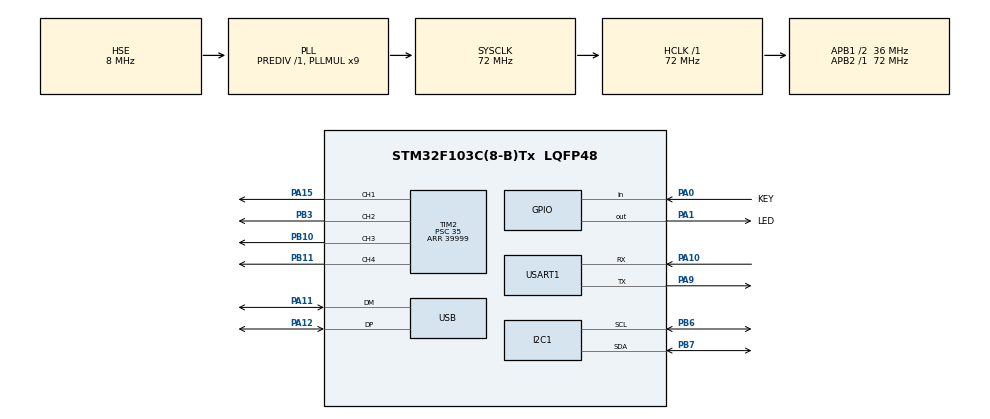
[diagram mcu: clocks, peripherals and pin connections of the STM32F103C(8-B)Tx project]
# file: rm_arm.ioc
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I2C1.I2C_Mode=I2C_Fast
Mcu.Family=STM32F1
Mcu.Name=STM32F103C(8-B)Tx
Mcu.Package=LQFP48
NVIC.PriorityGroup=NVIC_PRIORITYGROUP_4
NVIC.TIM3_IRQn=true\:0\:0\:false\:false\:true\:true\:true\:true
NVIC.USB_LP_CAN1_RX0_IRQn=true\:0\:0\:false\:false\:true\:false\:true\:true
PA0-WKUP.GPIO_Label=KEY
PA0-WKUP.GPIO_PuPd=GPIO_PULLDOWN
PA0-WKUP.Signal=GPIO_Input
PA1.GPIO_Label=LED
PA1.PinState=GPIO_PIN_SET
PA1.Signal=GPIO_Output
PA10.Mode=Asynchronous
PA10.Signal=USART1_RX
PA11.Mode=Device
PA11.Signal=USB_DM
PA12.Mode=Device
PA12.Signal=USB_DP
PA13.Mode=Serial_Wire
PA13.Signal=SYS_JTMS-SWDIO
PA14.Mode=Serial_Wire
PA14.Signal=SYS_JTCK-SWCLK
PA15.Signal=S_TIM2_CH1_ETR
PA9.Mode=Asynchronous
PA9.Signal=USART1_TX
PB10.Signal=S_TIM2_CH3
PB11.Signal=S_TIM2_CH4
PB3.Signal=S_TIM2_CH2
PB6.Mode=I2C
PB6.Signal=I2C1_SCL
PB7.Mode=I2C
PB7.Signal=I2C1_SDA
PD0-OSC_IN.Mode=HSE-External-Oscillator
PD0-OSC_IN.Signal=RCC_OSC_IN
PD1-OSC_OUT.Mode=HSE-External-Oscillator
PD1-OSC_OUT.Signal=RCC_OSC_OUT
ProjectManager.HeapSize=0x200
ProjectManager.StackSize=0x400
ProjectManager.TargetToolchain=CMake
RCC.AHBFreq_Value=72000000
RCC.APB1CLKDivider=RCC_HCLK_DIV2
RCC.APB1Freq_Value=36000000
RCC.APB1TimFreq_Value=72000000
RCC.APB2Freq_Value=72000000
RCC.APB2TimFreq_Value=72000000
RCC.HCLKFreq_Value=72000000
RCC.PLLMUL=RCC_PLL_MUL9
RCC.PLLSourceVirtual=RCC_PLLSOURCE_HSE
RCC.SYSCLKFreq_VALUE=72000000
RCC.SYSCLKSource=RCC_SYSCLKSOURCE_PLLCLK
RCC.USBFreq_Value=48000000
RCC.USBPrescaler=RCC_USBCLKSOURCE_PLL_DIV1_5
SH.S_TIM2_CH1_ETR.0=TIM2_CH1,PWM Generation1 CH1
SH.S_TIM2_CH2.0=TIM2_CH2,PWM Generation2 CH2
SH.S_TIM2_CH3.0=TIM2_CH3,PWM Generation3 CH3
SH.S_TIM2_CH4.0=TIM2_CH4,PWM Generation4 CH4
TIM2.AutoReloadPreload=TIM_AUTORELOAD_PRELOAD_ENABLE
TIM2.Channel-PWM\ Generation1\ CH1=TIM_CHANNEL_1
TIM2.Channel-PWM\ Generation2\ CH2=TIM_CHANNEL_2
TIM2.Channel-PWM\ Generation3\ CH3=TIM_CHANNEL_3
TIM2.Channel-PWM\ Generation4\ CH4=TIM_CHANNEL_4
TIM2.Period=39999
TIM2.Prescaler=35
TIM3.AutoReloadPreload=TIM_AUTORELOAD_PRELOAD_ENABLE
TIM3.Period=999
TIM3.Prescaler=71
USART1.VirtualMode=VM_ASYNC
USB_DEVICE.CLASS_NAME_FS=CDC
USB_DEVICE.VirtualMode=Cdc
USB_DEVICE.VirtualModeFS=Cdc_FS
VP_TIM2_VS_ClockSourceINT.Mode=Internal
VP_TIM3_VS_ClockSourceINT.Mode=Internal
VP_USB_DEVICE_VS_USB_DEVICE_CDC_FS.Mode=CDC_FS
board=custom

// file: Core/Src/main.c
/* USER CODE BEGIN Header */
/**
  ******************************************************************************
  * @file           : main.c
  * @brief          : Main program body
  ******************************************************************************
  * @attention
  *
  * Copyright (c) 2026 STMicroelectronics.
  * All rights reserved.
  *
  * This software is licensed under terms that can be found in the LICENSE file
  * in the root directory of this software component.
  * If no LICENSE file comes with this software, it is provided AS-IS.
  *
  ******************************************************************************
  */
/* USER CODE END Header */
#include "main.h"
#include "usb_device.h"

/* USER CODE BEGIN Includes */
#include <stdio.h>
#include "arm_pwm.h"       /* T1: arm_init() / arm_set_deg() */
#include "arm_joint.h"     /* T2: arm_joint_init() / 关节执行层（底座闭环） */
#include "arm_cfg.h"       /* T1: 标定表 g_arm_joint[] 与时基宏 */
#include "mpu6050.h"       /* T4: MPU6050 姿态传感器（I²C1，400kHz） */
#include "proto_app.h"     /* T5a: proto_app_init() / proto_app_poll() */
#include "usbd_cdc_if.h"   /* 逃课日志：按住 PA0 上电，CDC 直接输出文本（见 usb_log_mode） */
/* USER CODE END Includes */

/* USER CODE BEGIN PD */
#define FW_NAME          "rm_arm"
#define FW_VERSION       "0.2.0"

/* 注意：脉宽 / 角度 / 时基这些数字**不在这里**，
 * 按任务书 T1 的要求全部集中在 Core/Inc/arm_cfg.h。 */
#define KEY_DEBOUNCE_MS  20u                       /* 按键消抖时间 */
/* USER CODE END PD */

I2C_HandleTypeDef hi2c1;

TIM_HandleTypeDef htim2;
TIM_HandleTypeDef htim3;

UART_HandleTypeDef huart1;

/* USER CODE BEGIN PV */
/* main.c 刻意**不**声明 hUsbDeviceFS：
 * CDC 端点归协议层独占（proto_link.c），这里连指针都拿不到，
 * 一旦手滑写了 CDC 调用就变成编译错误，而不是运行时的隐性污染。 */
/* USER CODE END PV */

void SystemClock_Config(void);
static void MX_GPIO_Init(void);
static void MX_I2C1_Init(void);
static void MX_TIM2_Init(void);
static void MX_TIM3_Init(void);
static void MX_USART1_UART_Init(void);

/* USER CODE BEGIN 0 */

/* 定义在 usb_device.c（CubeMX 生成），这里只声明 */
extern USBD_HandleTypeDef hUsbDeviceFS;

/* I²C1 速率 = 400 kHz（任务书 T4 要求，.ioc 里也是 Fast Mode）。
 * 15~20cm 长杜邦线偶发 NACK 是已知风险：靠短排线/加大上拉解决，不靠降速掩盖。
 * 只动这一个宏 —— 生成区保持 CubeMX 原样，见 MX_I2C1_Init 的 USER CODE 2。 */
#define ARM_I2C1_CLOCK_HZ   400000u

/* ---------------- 日志输出：**只走 USART1** ----------------
 * ⚠️ 绝对不要把日志写进 USB CDC。
 *
 * 原因：CDC 是给上位机的**协议字节流**，上位机按帧头 0xA5 同步、按长度字段切包。
 * 一旦掺进任何文本：
 *     A5 10 13 84 03 ... 5B 54 31 5D ...     ← "[T1]" 混进帧中间
 *     长度字段声明 19 字节，凑齐后 CRC 必然不符
 *     → 上位机丢 1 字节重新同步 → 帧视图标红 → 丢帧统计暴涨
 *
 * 规则：**一个端点只能有一个主人**。
 *   CDC 端点由协议层独占（proto_link.c），日志只走 USART1 —— 物理上是另一根线，
 *   怎么打都不会碰到协议字节流。
 *
 * 代价：手上没有 USB-TTL 时看不到这些输出。这是有意的取舍：
 *       调试信息看不到可以忍，协议被污染不行。
 */

#define LOG_BUF_SIZE   160u

static char     s_log_buf[LOG_BUF_SIZE];
static uint16_t s_log_len = 0;

static void log_flush(void)
{
  if (s_log_len == 0u)
  {
    return;
  }

  /* 50ms 超时：115200 下一行 100 字节约 8.7ms；没接线也只是空等，不会死锁 */
  (void)HAL_UART_Transmit(&huart1, (uint8_t *)s_log_buf, s_log_len, 50);

  s_log_len = 0u;
}

/* newlib 的 printf 最终会一个字符一个字符调到这里
 * （链路：printf → _write() in syscalls.c → __io_putchar()） */
int __io_putchar(int ch)
{
  if (s_log_len >= (LOG_BUF_SIZE - 1u))
  {
    log_flush();                     /* 缓冲区满，先冲出去 */
  }

  s_log_buf[s_log_len++] = (char)ch;

  if (ch == '\n')
  {
    log_flush();                     /* 一行结束立刻发，保证及时可见 */
  }

  return ch;
}

/* ---------------- 本次复位原因 ---------------- */
static const char *reset_cause_str(void)
{
  if (__HAL_RCC_GET_FLAG(RCC_FLAG_PORRST)  != RESET) return "POR/PDR 上电复位";
  if (__HAL_RCC_GET_FLAG(RCC_FLAG_PINRST)  != RESET) return "NRST 外部复位脚";
  if (__HAL_RCC_GET_FLAG(RCC_FLAG_SFTRST)  != RESET) return "SW 软件复位";
  if (__HAL_RCC_GET_FLAG(RCC_FLAG_IWDGRST) != RESET) return "IWDG 独立看门狗";
  if (__HAL_RCC_GET_FLAG(RCC_FLAG_WWDGRST) != RESET) return "WWDG 窗口看门狗";
  if (__HAL_RCC_GET_FLAG(RCC_FLAG_LPWRRST) != RESET) return "LPWR 低功耗复位";
  return "未识别";
}

/* ---------------- 启动横幅 ----------------
 * 只在 t0_setup() 里调用一次：此时 MX_USART1_UART_Init() 已经跑过，
 * 而 __HAL_RCC_CLEAR_RESET_FLAGS() 还没跑。
 *
 * ⚠️ 两条容易误会的点（改之前先读这里）：
 *   1. 日志**只走 USART1，不走 USB CDC**。理由见文件头 92~96 行：
 *      宁可看不见调试信息，也绝不能让日志字节混进协议字节流。
 *      所以"USB 连上之后补发一遍横幅"这种行为**不存在** ——
 *      插着 USB 线是看不见任何东西的，想看必须接串口（PA9，115200）。
 *   2. 复位源标志只能读一次（读完就在 t0_setup 末尾清掉了），
 *      所以缓存进 s_reset_cause。缓存 + "只在第一次真正读"的写法
 *      让这个函数即使将来被调用两次也不会打出"未识别"。
 */
static const char *s_reset_cause = NULL;

static void print_banner(void)
{
  if (s_reset_cause == NULL)
  {
    s_reset_cause = reset_cause_str();   /* 只在第一次真正读标志位 */
  }

  printf("\r\n==============================\r\n");
  printf(" 工程名 : %s  v%s\r\n", FW_NAME, FW_VERSION);
  printf(" 芯片   : STM32F103C8T6 (64K Flash / 20K RAM)\r\n");
  printf(" SYSCLK : %lu Hz\r\n", (unsigned long)HAL_RCC_GetSysClockFreq());
  printf(" HCLK   : %lu Hz\r\n", (unsigned long)HAL_RCC_GetHCLKFreq());
  printf(" PCLK1  : %lu Hz\r\n", (unsigned long)HAL_RCC_GetPCLK1Freq());
  printf(" PCLK2  : %lu Hz\r\n", (unsigned long)HAL_RCC_GetPCLK2Freq());
  printf(" USB    : 48 MHz\r\n");
  printf(" 复位源 : %s\r\n", s_reset_cause);
  printf(" PWM    : TIM2 4ch @ 50Hz, tick=%u Hz, CCR=%u~%u (中位 %u)\r\n",
         (unsigned)ARM_PWM_TICK_HZ,
         (unsigned)ARM_PWM_US_TO_CCR(SERVO_US_NOMINAL_MIN),
         (unsigned)ARM_PWM_US_TO_CCR(SERVO_US_NOMINAL_MAX),
         (unsigned)ARM_PWM_US_TO_CCR(SERVO_US_HOME));

  /* 把标定表打出来，改完 arm_cfg.c 一眼能确认烧进去的是不是新值 */
  printf(" 关节标定表 (改 Core/Src/arm_cfg.c):\r\n");
  {
    uint8_t j;
    for (j = 0; j < ARM_JOINT_NUM; j++)
    {
      printf("   [%u] %s  %d~%d deg  home %d  %u~%u us\r\n",
             (unsigned)j,
             g_arm_joint[j].name,
             (int)g_arm_joint[j].deg_min,
             (int)g_arm_joint[j].deg_max,
             (int)g_arm_joint[j].deg_home,
             (unsigned)g_arm_joint[j].us_at_deg_min,
             (unsigned)g_arm_joint[j].us_at_deg_max);
    }
  }

  printf("==============================\r\n");
  printf("[T1] 就绪: 四路 PWM 已输出中位；标定见 docs/T1_角度脉宽映射_说明.md\r\n");

  /* T4：上电探测结果。没装也不影响舵机 —— 见 mpu6050.h 里 MPU6050_REQUIRED */
  if (mpu6050_present() != 0u)
  {
    /* 不写死 WHO_AM_I=0x68：probe 接受 0x68/0x70/0x71 三种克隆片。
     * 速率按宏打印，和实际重配值永远一致（不要再手写死数字）。 */
    printf("[T4] MPU6050 在线 (±2g/±500dps, 50Hz, I2C1 %ukHz)\r\n",
           (unsigned)(ARM_I2C1_CLOCK_HZ / 1000u));
  }
  else
  {
    printf("[T4] MPU6050 未检测到（pitch 填 0，其余功能照常；见 docs/T4_MPU6050_说明.md）\r\n");
  }
}

/* ---------------- T0 上电自检 ---------------- */
static void t0_setup(void)
{
  /* LED 先灭（Blue Pill：PA1 外接 LED，低电平点亮） */
  HAL_GPIO_WritePin(LED_GPIO_Port, LED_Pin, GPIO_PIN_SET);

  setvbuf(stdout, NULL, _IONBF, 0);   /* 关掉缓冲，插上串口就能看到 */

  /* 四路 PWM：交给 T1 模块，脉宽/角度参数全在 arm_cfg.h */
  arm_init();

  /* 关节执行层：决定哪个关节走闭环（底座 360°）、哪个直通。
   * 必须在 arm_init() 之后 —— 它内部要往 CCR 写零位脉宽。 */
  arm_joint_init();

  /* T4 姿态传感器：探测 MPU6050（WHO_AM_I 接受 0x68/0x70/0x71）+ 配量程/滤波/采样率。
   * 此时 MX_I2C1_Init() 已经跑过，I2C1 是 ARM_I2C1_CLOCK_HZ（当前 400kHz）。
   * 内部有约 110ms 的软复位等待，只在启动时做一次。 */
  (void)mpu6050_init();

  print_banner();

  /* 打印完再清标志，否则下次读到的是被清掉的状态 */
  __HAL_RCC_CLEAR_RESET_FLAGS();
}

/* ---------------- USB 配置完成检测 ----------------
 * 说明：这里**不**碰 CDC。日志只走 USART1（见文件头 log_flush 的注释），
 *       所以不存在"USB 连上后补发横幅"这回事 —— 想看得接 USB-TTL。
 */

/* ---------------- 20ms 消抖按键：返回 1 = 刚按下 ---------------- */
static uint8_t key_scan(void)
{
  static uint8_t  stable   = 0;   /* 稳定态 0=松开 1=按下 */
  static uint8_t  raw_prev = 0;
  static uint32_t t_edge   = 0;

  /* ★ PA0 外接按键：**按下接 3V3**，10k 下拉（CubeMX 里 KEY 也配成
   *   GPIO_PULLDOWN 兜底），所以"按下"读到的是 GPIO_PIN_SET。
   *   如果换成接地按键 + 内部上拉，这一行必须翻成 GPIO_PIN_RESET，
   *   否则按键逻辑整个反掉。线没插好时引脚被下拉，稳定读"松开"。 */
  uint8_t  raw = (HAL_GPIO_ReadPin(KEY_GPIO_Port, KEY_Pin) == GPIO_PIN_SET) ? 1u : 0u;
  uint32_t now = HAL_GetTick();

  if (raw != raw_prev)          /* 电平刚变，重新计时 */
  {
    raw_prev = raw;
    t_edge   = now;
    return 0;
  }

  if ((raw != stable) && ((now - t_edge) >= KEY_DEBOUNCE_MS))
  {
    stable = raw;               /* 稳定了才认 */
    if (stable)
    {
      return 1u;                /* 只在按下沿给一次事件 */
    }
  }
  return 0;
}

/* ---------------- T0 主循环体 ---------------- */
static void t0_loop(void)
{
  static uint8_t  led_on  = 0;   /* 逻辑亮灭；PA1=LED，低电平点亮 */
  static uint32_t t_blink = 0;

  /* T0 原文：「LED 以 1Hz 闪烁，按键能翻转 LED 状态」。
   * 1Hz = 每 500ms 翻转一次；按键翻转叠加在闪烁之上并重置计时，
   * 按下的瞬间一定看得到变化，不会被下一拍闪回去。 */
  if ((HAL_GetTick() - t_blink) >= 500u)
  {
    t_blink = HAL_GetTick();
    led_on  = (uint8_t)!led_on;
    HAL_GPIO_WritePin(LED_GPIO_Port, LED_Pin, led_on ? GPIO_PIN_RESET : GPIO_PIN_SET);
  }

  if (key_scan())
  {
    led_on  = (uint8_t)!led_on;
    t_blink = HAL_GetTick();      /* 重置闪烁相位，按下后至少亮/灭满 500ms */
    HAL_GPIO_WritePin(LED_GPIO_Port, LED_Pin, led_on ? GPIO_PIN_RESET : GPIO_PIN_SET);
    /* 脚名跟 main.h 的 KEY_GPIO_Port / KEY_Pin 走。
     * 换板改引脚时，这行字符串里的 "PA0" 也要跟着改，不然日志会骗人。 */
    printf("[T0] PA0 按下 -> LED %s\r\n", led_on ? "ON" : "OFF");
  }
}

/* ---------------- “没有 USB-TTL”时的文本日志逃课模式 ----------------
 * 进入：按住 PA0 再上电/复位。USB CDC 不跑协议，直接输出人可读文本，
 *       用任意串口助手打开“USB 串行设备”对应的 COM 就能看（波特率随便填）。
 * 退出：松开按键再复位一次，恢复正常的二进制协议。
 *
 * 为什么不把日志混进正常模式：CDC 是上位机的协议字节流，混文本会让按 0xA5
 * 同步的上位机收到脏字节（见文件头“日志只走 USART1”的说明）。所以单独开一个
 * 上电窗口，鱼和熊掌分开。
 *
 * 主机 5 秒内没枚举成功就直接返回、照常启动 —— 避免“按住键就卡死”。 */
static void cdc_write_text(const char *s, int n)
{
  uint32_t t0;

  if (n <= 0) { return; }
  t0 = HAL_GetTick();
  while (CDC_Transmit_FS((uint8_t *)s, (uint16_t)n) != USBD_OK)
  {
    if ((HAL_GetTick() - t0) > 20u) { return; }   /* 主机没在读，丢掉这一行 */
    HAL_Delay(1u);
  }
}

static void usb_log_mode(void)
{
  char line[256];
  uint32_t t_wait;
  int n;

  t_wait = HAL_GetTick();
  while ((HAL_GetTick() - t_wait) < 5000u)
  {
    if (hUsbDeviceFS.dev_state == USBD_STATE_CONFIGURED) { break; }
    HAL_Delay(10u);
  }
  if (hUsbDeviceFS.dev_state != USBD_STATE_CONFIGURED) { return; }

  /* 只做一次探测，后面每行打印结果 */
  (void)mpu6050_init();

  /* 全 ASCII：串口助手默认多是 GBK，发 UTF-8 中文会变乱码 */
  n = snprintf(line, sizeof line,
               "\r\n[USB-LOG] text debug mode (hold PA0 during reset)\r\n"
               "Open the 'USB Serial Device' COM port, any baud rate.\r\n"
               "Release the key and reset -> back to binary protocol.\r\n");
  cdc_write_text(line, n);

  while (1)
  {
    n = snprintf(line, sizeof line,
                 "[%8lu ms] LED=%s  MPU6050=%s\r\n",
                 (unsigned long)HAL_GetTick(),
                 (HAL_GPIO_ReadPin(LED_GPIO_Port, LED_Pin) == GPIO_PIN_RESET) ? "ON " : "OFF",
                 (mpu6050_present() != 0u) ? "yes" : "no");
    cdc_write_text(line, n);
    HAL_GPIO_TogglePin(LED_GPIO_Port, LED_Pin);
    HAL_Delay(500u);
  }
}

/* USER CODE END 0 */

int main(void)
{

  /* MCU Configuration--------------------------------------------------------*/

  /* Reset of all peripherals, Initializes the Flash interface and the Systick. */
  HAL_Init();

  /* Configure the system clock */
  SystemClock_Config();

  /* Initialize all configured peripherals */
  MX_GPIO_Init();
  MX_I2C1_Init();
  MX_TIM2_Init();
  MX_TIM3_Init();
  MX_USART1_UART_Init();
  MX_USB_DEVICE_Init();
  /* USER CODE BEGIN 2 */
  /* 逃课：复位时按住 PA0 -> CDC 输出文本日志；正常上电不进入 */
  if (HAL_GPIO_ReadPin(KEY_GPIO_Port, KEY_Pin) == GPIO_PIN_SET)
  {
    usb_log_mode();
  }
  t0_setup();
  proto_app_init();          /* T5a: 协议层就绪（先 arm_init 再初始化协议，顺序不能反） */
  /* USER CODE END 2 */

  /* Infinite loop */
  while (1)
  {

    /* USER CODE BEGIN 3 */
    t0_loop();
    proto_app_poll();        /* T5a: 收支协议帧、按 50Hz 上报状态、1Hz 心跳 */
  }
  /* USER CODE END 3 */
}

void SystemClock_Config(void)
{
  RCC_OscInitTypeDef RCC_OscInitStruct = {0};
  RCC_ClkInitTypeDef RCC_ClkInitStruct = {0};
  RCC_PeriphCLKInitTypeDef PeriphClkInit = {0};

  /** Initializes the RCC Oscillators according to the specified parameters
  * in the RCC_OscInitTypeDef structure.
  */
  RCC_OscInitStruct.OscillatorType = RCC_OSCILLATORTYPE_HSE;
  RCC_OscInitStruct.HSEState = RCC_HSE_ON;
  RCC_OscInitStruct.HSEPredivValue = RCC_HSE_PREDIV_DIV1;
  RCC_OscInitStruct.HSIState = RCC_HSI_ON;
  RCC_OscInitStruct.PLL.PLLState = RCC_PLL_ON;
  RCC_OscInitStruct.PLL.PLLSource = RCC_PLLSOURCE_HSE;
  RCC_OscInitStruct.PLL.PLLMUL = RCC_PLL_MUL9;
  if (HAL_RCC_OscConfig(&RCC_OscInitStruct) != HAL_OK)
  {
    Error_Handler();
  }

  /** Initializes the CPU, AHB and APB buses clocks
  */
  RCC_ClkInitStruct.ClockType = RCC_CLOCKTYPE_HCLK|RCC_CLOCKTYPE_SYSCLK
                              |RCC_CLOCKTYPE_PCLK1|RCC_CLOCKTYPE_PCLK2;
  RCC_ClkInitStruct.SYSCLKSource = RCC_SYSCLKSOURCE_PLLCLK;
  RCC_ClkInitStruct.AHBCLKDivider = RCC_SYSCLK_DIV1;
  RCC_ClkInitStruct.APB1CLKDivider = RCC_HCLK_DIV2;
  RCC_ClkInitStruct.APB2CLKDivider = RCC_HCLK_DIV1;

  if (HAL_RCC_ClockConfig(&RCC_ClkInitStruct, FLASH_LATENCY_2) != HAL_OK)
  {
    Error_Handler();
  }
  PeriphClkInit.PeriphClockSelection = RCC_PERIPHCLK_USB;
  PeriphClkInit.UsbClockSelection = RCC_USBCLKSOURCE_PLL_DIV1_5;
  if (HAL_RCCEx_PeriphCLKConfig(&PeriphClkInit) != HAL_OK)
  {
    Error_Handler();
  }
}

static void MX_I2C1_Init(void)
{

  hi2c1.Instance = I2C1;
  hi2c1.Init.ClockSpeed = 400000;
  hi2c1.Init.DutyCycle = I2C_DUTYCYCLE_2;
  hi2c1.Init.OwnAddress1 = 0;
  hi2c1.Init.AddressingMode = I2C_ADDRESSINGMODE_7BIT;
  hi2c1.Init.DualAddressMode = I2C_DUALADDRESS_DISABLE;
  hi2c1.Init.OwnAddress2 = 0;
  hi2c1.Init.GeneralCallMode = I2C_GENERALCALL_DISABLE;
  hi2c1.Init.NoStretchMode = I2C_NOSTRETCH_DISABLE;
  if (HAL_I2C_Init(&hi2c1) != HAL_OK)
  {
    Error_Handler();
  }
  /* USER CODE BEGIN I2C1_Init 2 */

  /* 速率在生成区之后按宏重配一次：生成区必须保持 CubeMX 原样（任务书 2.4.5），
   * 而速率只留 ARM_I2C1_CLOCK_HZ 一个权威来源。改速率只动那个宏。 */
  hi2c1.Init.ClockSpeed = ARM_I2C1_CLOCK_HZ;
  if (HAL_I2C_Init(&hi2c1) != HAL_OK)
  {
    Error_Handler();
  }

  /* USER CODE END I2C1_Init 2 */

}

static void MX_TIM2_Init(void)
{

  /* USER CODE BEGIN TIM2_Init 0 */
  /* ★ 四个通道**全部**必须是 PWM Generation 模式。
   *
   * 若某一路被设成 "Forced Output CHx"，它就不再是 PWM，而是**恒定高电平**：
   *   - 对应脚一直 3.3V，万用表读 3.3V 而不是约 0.25V
   *   - CCR 写了也没用（强制输出忽略比较值，该关节完全不听指令）
   * 症状很像“重映射没生效”，但重映射可能是好的，先查这里和 .ioc。
   *
   * 判据：量某一路恒 3.3V（另外三路正常）→ 先查 TIM2 通道模式。
   * rm_arm.ioc 已同步为 PWM Generation，重新 GENERATE CODE 不会复发。 */
  /* USER CODE END TIM2_Init 0 */

  TIM_ClockConfigTypeDef sClockSourceConfig = {0};
  TIM_MasterConfigTypeDef sMasterConfig = {0};
  TIM_OC_InitTypeDef sConfigOC = {0};

  htim2.Instance = TIM2;
  htim2.Init.Prescaler = 35;
  htim2.Init.CounterMode = TIM_COUNTERMODE_UP;
  htim2.Init.Period = 39999;
  htim2.Init.ClockDivision = TIM_CLOCKDIVISION_DIV1;
  htim2.Init.AutoReloadPreload = TIM_AUTORELOAD_PRELOAD_ENABLE;
  if (HAL_TIM_Base_Init(&htim2) != HAL_OK)
  {
    Error_Handler();
  }
  sClockSourceConfig.ClockSource = TIM_CLOCKSOURCE_INTERNAL;
  if (HAL_TIM_ConfigClockSource(&htim2, &sClockSourceConfig) != HAL_OK)
  {
    Error_Handler();
  }
  if (HAL_TIM_PWM_Init(&htim2) != HAL_OK)
  {
    Error_Handler();
  }
  sMasterConfig.MasterOutputTrigger = TIM_TRGO_RESET;
  sMasterConfig.MasterSlaveMode = TIM_MASTERSLAVEMODE_DISABLE;
  if (HAL_TIMEx_MasterConfigSynchronization(&htim2, &sMasterConfig) != HAL_OK)
  {
    Error_Handler();
  }
  sConfigOC.OCMode = TIM_OCMODE_PWM1;
  sConfigOC.Pulse = 0;
  sConfigOC.OCPolarity = TIM_OCPOLARITY_HIGH;
  sConfigOC.OCFastMode = TIM_OCFAST_DISABLE;
  if (HAL_TIM_PWM_ConfigChannel(&htim2, &sConfigOC, TIM_CHANNEL_1) != HAL_OK)
  {
    Error_Handler();
  }
  if (HAL_TIM_PWM_ConfigChannel(&htim2, &sConfigOC, TIM_CHANNEL_2) != HAL_OK)
  {
    Error_Handler();
  }
  if (HAL_TIM_PWM_ConfigChannel(&htim2, &sConfigOC, TIM_CHANNEL_3) != HAL_OK)
  {
    Error_Handler();
  }
  if (HAL_TIM_PWM_ConfigChannel(&htim2, &sConfigOC, TIM_CHANNEL_4) != HAL_OK)
  {
    Error_Handler();
  }
  HAL_TIM_MspPostInit(&htim2);

}

static void MX_TIM3_Init(void)
{

  TIM_ClockConfigTypeDef sClockSourceConfig = {0};
  TIM_MasterConfigTypeDef sMasterConfig = {0};

  htim3.Instance = TIM3;
  htim3.Init.Prescaler = 71;
  htim3.Init.CounterMode = TIM_COUNTERMODE_UP;
  htim3.Init.Period = 999;
  htim3.Init.ClockDivision = TIM_CLOCKDIVISION_DIV1;
  htim3.Init.AutoReloadPreload = TIM_AUTORELOAD_PRELOAD_ENABLE;
  if (HAL_TIM_Base_Init(&htim3) != HAL_OK)
  {
    Error_Handler();
  }
  sClockSourceConfig.ClockSource = TIM_CLOCKSOURCE_INTERNAL;
  if (HAL_TIM_ConfigClockSource(&htim3, &sClockSourceConfig) != HAL_OK)
  {
    Error_Handler();
  }
  sMasterConfig.MasterOutputTrigger = TIM_TRGO_RESET;
  sMasterConfig.MasterSlaveMode = TIM_MASTERSLAVEMODE_DISABLE;
  if (HAL_TIMEx_MasterConfigSynchronization(&htim3, &sMasterConfig) != HAL_OK)
  {
    Error_Handler();
  }

}

static void MX_USART1_UART_Init(void)
{

  huart1.Instance = USART1;
  huart1.Init.BaudRate = 115200;
  huart1.Init.WordLength = UART_WORDLENGTH_8B;
  huart1.Init.StopBits = UART_STOPBITS_1;
  huart1.Init.Parity = UART_PARITY_NONE;
  huart1.Init.Mode = UART_MODE_TX_RX;
  huart1.Init.HwFlowCtl = UART_HWCONTROL_NONE;
  huart1.Init.OverSampling = UART_OVERSAMPLING_16;
  if (HAL_UART_Init(&huart1) != HAL_OK)
  {
    Error_Handler();
  }

}

static void MX_GPIO_Init(void)
{
  GPIO_InitTypeDef GPIO_InitStruct = {0};
/* USER CODE BEGIN MX_GPIO_Init_1 */
  /* ======================================================================
   * ★★★ TIM2 全重映射 + 关 JTAG 留 SWD ★★★
   *
   * 【为什么这两行必须手写】
   *   CubeMX 对 STM32F1 的定时器重映射**只生成引脚 AF 配置**，不生成
   *   AFIO_MAPR 里的重映射位。证据：stm32f1xx_hal_msp.c 的
   *   HAL_TIM_MspPostInit() 已经把 PB3/PB10/PB11/PA15 设成 GPIO_MODE_AF_PP，
   *   但全项目搜不到 REMAP_TIM2。
   *
   *   只配 AF、不改 MAPR 会怎样？信号仍旧从 PA0/PA1/PA2/PA3 出来。
   *   而当前板 PA0/PA1 是按键和 LED —— 结果是四路舵机一动不动，
   *   按一下按键还等于把 3V3 短接到一个正在输出低电平的 PWM 脚上。
   *
   * 【两行分别做什么】
   *   __HAL_AFIO_REMAP_SWJ_NOJTAG() → SWJ_CFG = 001：关掉 JTAG，保留 SWD。
   *       PA15 出厂是 JTDI、PB3 出厂是 JTDO，不关 JTAG 它们不能当 PWM 用。
   *       SWD 在 PA13/PA14 上，照常下载调试，一点影响都没有。
   *   __HAL_AFIO_REMAP_TIM2_ENABLE() → TIM2_REMAP = 11（全重映射）：
   *       CH1→PA15   CH2→PB3   CH3→PB10   CH4→PB11
   *
   * 【为什么放在这里能行】
   *   AFIO 的 RCC 时钟在 HAL_MspInit() 里已经开了（stm32f1xx_hal_msp.c:73），
   *   而 HAL_Init() 早于 MX_GPIO_Init()，所以这里可以直接写 AFIO->MAPR。
   *
   * ====================================================================== */
  __HAL_AFIO_REMAP_SWJ_NOJTAG();
  __HAL_AFIO_REMAP_TIM2_ENABLE();
/* USER CODE END MX_GPIO_Init_1 */

  /* GPIO Ports Clock Enable */
  __HAL_RCC_GPIOD_CLK_ENABLE();
  __HAL_RCC_GPIOA_CLK_ENABLE();
  __HAL_RCC_GPIOB_CLK_ENABLE();

  /*Configure GPIO pin Output Level */
  HAL_GPIO_WritePin(LED_GPIO_Port, LED_Pin, GPIO_PIN_SET);

  /*Configure GPIO pin : KEY_Pin */
  GPIO_InitStruct.Pin = KEY_Pin;
  GPIO_InitStruct.Mode = GPIO_MODE_INPUT;
  GPIO_InitStruct.Pull = GPIO_PULLDOWN;
  HAL_GPIO_Init(KEY_GPIO_Port, &GPIO_InitStruct);

  /*Configure GPIO pin : LED_Pin */
  GPIO_InitStruct.Pin = LED_Pin;
  GPIO_InitStruct.Mode = GPIO_MODE_OUTPUT_PP;
  GPIO_InitStruct.Pull = GPIO_NOPULL;
  GPIO_InitStruct.Speed = GPIO_SPEED_FREQ_LOW;
  HAL_GPIO_Init(LED_GPIO_Port, &GPIO_InitStruct);

}

void Error_Handler(void)
{
  __disable_irq();
  while (1)
  {
  }
}
